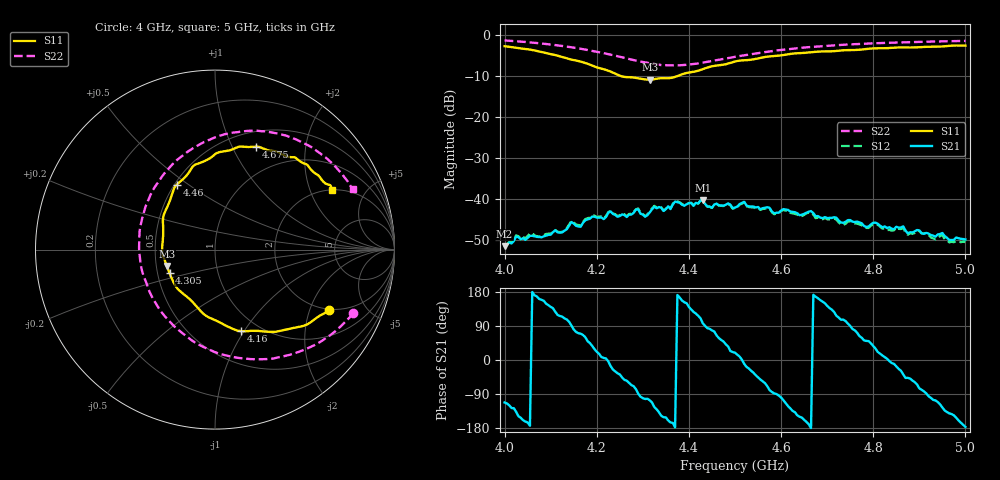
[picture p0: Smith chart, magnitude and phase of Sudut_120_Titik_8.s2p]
# Hz S RI R 50
! CMT, C1220, 16058040, 17.2.0/1
! Date: 15/08/2018 11:41:30
! Data: Format (Calibration Info)
! Freq  S11: Re/Im (F2)  S21: Re/Im (F2)  S12: Re/Im (F2)  S22: Re/Im (F2)
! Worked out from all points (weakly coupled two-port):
!   201 points, 4 GHz to 5 GHz, reference 50 ohm
!   highest |S21| = -40.31 dB at 4.43 GHz (marker M1); lowest = -51.4 dB at 4 GHz (marker M2)
!   lowest |S11| = -10.9 dB at 4.315 GHz (marker M3), VSWR 1.79, Z = 28.4 - j5.61 ohm
!   |S11| at or under -10 dB: 4.25 GHz to 4.377 GHz (127.2 MHz wide, 2.95 % of centre)
!   |S22| runs from -7.5 to -1.4 dB; largest |S21 - S12| = 0.00034
!   S11 on the Smith chart (normalised r, x): 4 GHz: 1.95, -2.74; 4.16 GHz: 0.82, -0.97; 4.305 GHz: 0.58, -0.16; 4.46 GHz: 0.51, +0.45; 4.675 GHz: 0.67, +1.24; 5 GHz: 2.01, +2.89
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4e9  0.6366 -0.3383  -0.00101 -0.00248  -0.000933 -0.00261  0.7706 -0.3533
4.025e9  0.5824 -0.3692  -0.00256 -0.0024  -0.00256 -0.00257  0.7224 -0.4069
4.125e9  0.2759 -0.4564  -0.00164 0.00359  -0.00175 0.0036  0.4369 -0.58
4.145e9  0.2027 -0.4524  -9.8e-05 0.00527  -0.000312 0.00542  0.361 -0.5984
4.16e9  0.1455 -0.4543  0.00153 0.00439  0.00153 0.0046  0.3019 -0.6092
4.17e9  0.112 -0.4468  0.00209 0.0047  0.00203 0.00485  0.2618 -0.6109
4.23e9  -0.0757 -0.347  0.0068 -0.00196  0.00695 -0.00199  -0.00283 -0.5701
4.265e9  -0.1745 -0.2485  0.00352 -0.00494  0.00353 -0.00509  -0.1511 -0.4894
4.29e9  -0.2317 -0.181  0.000125 -0.00751  9.73e-05 -0.00769  -0.2472 -0.4064
4.305e9  -0.2533 -0.1304  -0.00136 -0.00596  -0.00142 -0.00603  -0.2959 -0.3508
4.315e9  -0.2686 -0.0908  -0.00196 -0.00662  -0.00207 -0.00681  -0.325 -0.3076
4.335e9  -0.2925 -0.0244  -0.00596 -0.00536  -0.00608 -0.00536  -0.3724 -0.2152
4.43e9  -0.2452 0.2902  -0.00119 0.00957  -0.000995 0.00954  -0.3855 0.2443
4.45e9  -0.2272 0.343  0.0016 0.00767  0.00182 0.00764  -0.3492 0.3251
4.46e9  -0.2133 0.3612  0.00373 0.00797  0.00389 0.00784  -0.3257 0.3628
4.5e9  -0.132 0.4508  0.00745 0.0026  0.00741 0.00245  -0.2237 0.4874
4.52e9  -0.1028 0.4762  0.00912 -0.00164  0.00898 -0.00176  -0.1668 0.534
4.585e9  0.0407 0.546  0.000219 -0.0067  7.99e-05 -0.00655  0.0261 0.6347
4.67e9  0.2195 0.573  -0.0067 0.000946  -0.00643 0.00097  0.2605 0.6594
4.675e9  0.2278 0.5737  -0.00602 0.0014  -0.00571 0.00138  0.2729 0.6593
4.835e9  0.4846 0.4853  0.00455 -0.000232  0.00423 -0.000107  0.5872 0.5351
5e9  0.6546 0.332  -0.00323 -0.000195  -0.00299 -0.000337  0.767 0.3366
